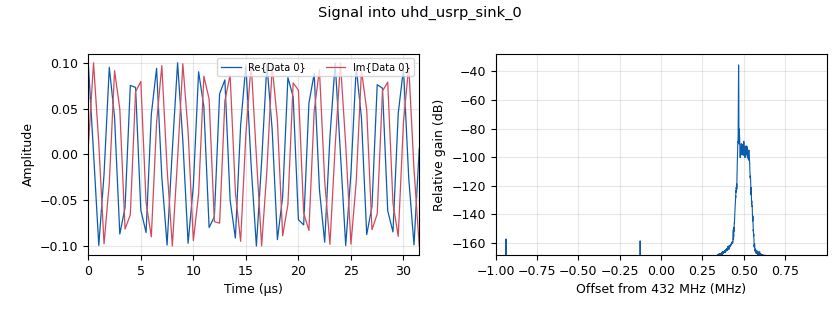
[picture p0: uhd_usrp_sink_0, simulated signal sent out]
<?xml version='1.0' encoding='utf-8'?>
<?grc format='1' created='3.7.12'?>
<flow_graph>
<block>
<key>options</key>
<param><key>id</key><value>top_block</value></param>
<param><key>category</key><value>Custom</value></param>
<param><key>generate_options</key><value>qt_gui</value></param>
</block>
<block>
<key>variable</key>
<param><key>id</key><value>center_freq</value></param>
<param><key>value</key><value>432e6</value></param>
</block>
<block>
<key>variable</key>
<param><key>id</key><value>channel_width</value></param>
<param><key>value</key><value>100e3</value></param>
</block>
<block>
<key>variable_qtgui_entry</key>
<param><key>id</key><value>freq</value></param>
<param><key>value</key><value>432.5e6</value></param>
<param><key>type</key><value>real</value></param>
</block>
<block>
<key>variable_qtgui_entry</key>
<param><key>id</key><value>noise</value></param>
<param><key>value</key><value>0.01</value></param>
<param><key>_enabled</key><value>0</value></param>
<param><key>type</key><value>real</value></param>
</block>
<block>
<key>variable</key>
<param><key>id</key><value>samp_rate</value></param>
<param><key>value</key><value>2e6</value></param>
</block>
<block>
<key>variable</key>
<param><key>id</key><value>samples_per_symbol</value></param>
<param><key>value</key><value>int(samp_rate/symbol_rate)</value></param>
</block>
<block>
<key>variable_qtgui_entry</key>
<param><key>id</key><value>sensitivity</value></param>
<param><key>value</key><value>0.1</value></param>
<param><key>type</key><value>real</value></param>
</block>
<block>
<key>variable</key>
<param><key>id</key><value>symbol_rate</value></param>
<param><key>value</key><value>1/100e-6</value></param>
</block>
<block>
<key>variable</key>
<param><key>id</key><value>taps</value></param>
<param><key>value</key><value>firdes.low_pass(1, samp_rate, channel_width/2, channel_width/10)</value></param>
</block>
<block>
<key>analog_sig_source_x</key>
<param><key>id</key><value>analog_sig_source_x_0</value></param>
<param><key>amp</key><value>0.1</value></param>
<param><key>freq</key><value>freq-center_freq</value></param>
<param><key>offset</key><value>0</value></param>
<param><key>type</key><value>complex</value></param>
<param><key>samp_rate</key><value>samp_rate</value></param>
<param><key>waveform</key><value>analog.GR_COS_WAVE</value></param>
</block>
<block>
<key>blocks_message_debug</key>
<param><key>id</key><value>blocks_message_debug_1_0</value></param>
<param><key>_enabled</key><value>0</value></param>
</block>
<block>
<key>blocks_multiply_xx</key>
<param><key>id</key><value>blocks_multiply_xx_0</value></param>
<param><key>type</key><value>complex</value></param>
</block>
<block>
<key>blocks_repack_bits_bb</key>
<param><key>id</key><value>blocks_repack_bits_bb_0</value></param>
<param><key>k</key><value>1</value></param>
<param><key>l</key><value>8</value></param>
<param><key>_enabled</key><value>0</value></param>
<param><key>endianness</key><value>gr.GR_MSB_FIRST</value></param>
<param><key>len_tag_key</key><value>packet_len</value></param>
</block>
<block>
<key>blocks_tagged_stream_to_pdu</key>
<param><key>id</key><value>blocks_tagged_stream_to_pdu_0</value></param>
<param><key>_enabled</key><value>0</value></param>
<param><key>type</key><value>byte</value></param>
<param><key>tag</key><value>packet_len</value></param>
</block>
<block>
<key>blocks_throttle</key>
<param><key>id</key><value>blocks_throttle_0</value></param>
<param><key>_enabled</key><value>0</value></param>
<param><key>samples_per_second</key><value>samp_rate</value></param>
<param><key>type</key><value>complex</value></param>
</block>
<block>
<key>blocks_uchar_to_float</key>
<param><key>id</key><value>blocks_uchar_to_float_0</value></param>
<param><key>_enabled</key><value>0</value></param>
</block>
<block>
<key>blocks_vector_source_x</key>
<param><key>id</key><value>blocks_vector_source_x_0</value></param>
<param><key>type</key><value>byte</value></param>
<param><key>repeat</key><value>True</value></param>
<param><key>vector</key><value>(0,0,85,85,0,5,0,5,89,79,32,89,79,0,0,0,0,0,0,0,0,0,0,0,0,0,0)</value></param>
</block>
<block>
<key>channels_channel_model</key>
<param><key>id</key><value>channels_channel_model_0</value></param>
<param><key>_enabled</key><value>0</value></param>
<param><key>epsilon</key><value>1.0</value></param>
<param><key>freq_offset</key><value>0.0</value></param>
<param><key>noise_voltage</key><value>noise</value></param>
<param><key>seed</key><value>0</value></param>
<param><key>taps</key><value>1.0 + 1.0j</value></param>
</block>
<block>
<key>digital_correlate_access_code_xx_ts</key>
<param><key>id</key><value>digital_correlate_access_code_xx_ts_0</value></param>
<param><key>access_code</key><value>0101010101010101</value></param>
<param><key>_enabled</key><value>0</value></param>
<param><key>type</key><value>byte</value></param>
<param><key>tagname</key><value>packet_len</value></param>
<param><key>threshold</key><value>0</value></param>
</block>
<block>
<key>digital_gfsk_demod</key>
<param><key>id</key><value>digital_gfsk_demod_0</value></param>
<param><key>_enabled</key><value>0</value></param>
<param><key>freq_error</key><value>0.0</value></param>
<param><key>gain_mu</key><value>0.175</value></param>
<param><key>mu</key><value>0.5</value></param>
<param><key>omega_relative_limit</key><value>0.005</value></param>
<param><key>samples_per_symbol</key><value>samples_per_symbol</value></param>
<param><key>sensitivity</key><value>sensitivity</value></param>
<param><key>verbose</key><value>True</value></param>
</block>
<block>
<key>digital_gfsk_mod</key>
<param><key>id</key><value>digital_gfsk_mod_0</value></param>
<param><key>bt</key><value>0.35</value></param>
<param><key>samples_per_symbol</key><value>samples_per_symbol</value></param>
<param><key>sensitivity</key><value>sensitivity</value></param>
</block>
<block>
<key>freq_xlating_fir_filter_xxx</key>
<param><key>id</key><value>freq_xlating_fir_filter_xxx_0</value></param>
<param><key>center_freq</key><value>freq-center_freq</value></param>
<param><key>decim</key><value>1</value></param>
<param><key>_enabled</key><value>0</value></param>
<param><key>samp_rate</key><value>samp_rate</value></param>
<param><key>taps</key><value>taps</value></param>
<param><key>type</key><value>ccc</value></param>
</block>
<block>
<key>qtgui_sink_x</key>
<param><key>id</key><value>qtgui_sink_x_0</value></param>
<param><key>bw</key><value>samp_rate</value></param>
<param><key>fc</key><value>center_freq</value></param>
<param><key>freqchangevar</key><value>None</value></param>
<param><key>_enabled</key><value>0</value></param>
<param><key>fftsize</key><value>1024</value></param>
<param><key>showports</key><value>True</value></param>
<param><key>showrf</key><value>True</value></param>
<param><key>type</key><value>complex</value></param>
<param><key>wintype</key><value>firdes.WIN_BLACKMAN_hARRIS</value></param>
</block>
<block>
<key>qtgui_sink_x</key>
<param><key>id</key><value>qtgui_sink_x_0_0</value></param>
<param><key>bw</key><value>samp_rate</value></param>
<param><key>fc</key><value>freq</value></param>
<param><key>freqchangevar</key><value>None</value></param>
<param><key>_enabled</key><value>0</value></param>
<param><key>fftsize</key><value>1024</value></param>
<param><key>showports</key><value>True</value></param>
<param><key>showrf</key><value>True</value></param>
<param><key>type</key><value>complex</value></param>
<param><key>wintype</key><value>firdes.WIN_BLACKMAN_hARRIS</value></param>
</block>
<block>
<key>qtgui_time_sink_x</key>
<param><key>id</key><value>qtgui_time_sink_x_0</value></param>
<param><key>_enabled</key><value>0</value></param>
<param><key>color1</key><value>"blue"</value></param>
<param><key>label1</key><value></value></param>
<param><key>marker1</key><value>0</value></param>
<param><key>size</key><value>1024*4</value></param>
<param><key>srate</key><value>symbol_rate</value></param>
<param><key>type</key><value>float</value></param>
<param><key>ymax</key><value>1.1</value></param>
<param><key>ymin</key><value>-0.1</value></param>
</block>
<block>
<key>uhd_usrp_sink</key>
<param><key>id</key><value>uhd_usrp_sink_0</value></param>
<param><key>ant0</key><value>TX/RX</value></param>
<param><key>center_freq0</key><value>center_freq</value></param>
<param><key>norm_gain0</key><value>False</value></param>
<param><key>gain0</key><value>40</value></param>
<param><key>clock_rate</key><value>0.0</value></param>
<param><key>dev_args</key><value>""</value></param>
<param><key>type</key><value>fc32</value></param>
<param><key>samp_rate</key><value>samp_rate</value></param>
<param><key>hide_cmd_port</key><value>False</value></param>
<param><key>hide_lo_controls</key><value>True</value></param>
<param><key>sync</key><value></value></param>
<param><key>len_tag_name</key><value></value></param>
</block>
<block>
<key>virtual_sink</key>
<param><key>id</key><value>virtual_sink_0</value></param>
<param><key>_enabled</key><value>0</value></param>
<param><key>stream_id</key><value>signal_sent</value></param>
</block>
<block>
<key>virtual_source</key>
<param><key>id</key><value>virtual_source_0</value></param>
<param><key>_enabled</key><value>0</value></param>
<param><key>stream_id</key><value>signal_sent</value></param>
</block>
<connection><source_block_id>analog_sig_source_x_0</source_block_id><sink_block_id>blocks_multiply_xx_0</sink_block_id><source_key>0</source_key><sink_key>1</sink_key></connection>
<connection><source_block_id>blocks_multiply_xx_0</source_block_id><sink_block_id>channels_channel_model_0</sink_block_id><source_key>0</source_key><sink_key>0</sink_key></connection>
<connection><source_block_id>blocks_multiply_xx_0</source_block_id><sink_block_id>uhd_usrp_sink_0</sink_block_id><source_key>0</source_key><sink_key>0</sink_key></connection>
<connection><source_block_id>blocks_repack_bits_bb_0</source_block_id><sink_block_id>blocks_tagged_stream_to_pdu_0</sink_block_id><source_key>0</source_key><sink_key>0</sink_key></connection>
<connection><source_block_id>blocks_tagged_stream_to_pdu_0</source_block_id><sink_block_id>blocks_message_debug_1_0</sink_block_id><source_key>pdus</source_key><sink_key>print_pdu</sink_key></connection>
<connection><source_block_id>blocks_throttle_0</source_block_id><sink_block_id>virtual_sink_0</sink_block_id><source_key>0</source_key><sink_key>0</sink_key></connection>
<connection><source_block_id>blocks_uchar_to_float_0</source_block_id><sink_block_id>qtgui_time_sink_x_0</sink_block_id><source_key>0</source_key><sink_key>0</sink_key></connection>
<connection><source_block_id>blocks_vector_source_x_0</source_block_id><sink_block_id>digital_gfsk_mod_0</sink_block_id><source_key>0</source_key><sink_key>0</sink_key></connection>
<connection><source_block_id>channels_channel_model_0</source_block_id><sink_block_id>blocks_throttle_0</sink_block_id><source_key>0</source_key><sink_key>0</sink_key></connection>
<connection><source_block_id>digital_correlate_access_code_xx_ts_0</source_block_id><sink_block_id>blocks_repack_bits_bb_0</sink_block_id><source_key>0</source_key><sink_key>0</sink_key></connection>
<connection><source_block_id>digital_gfsk_demod_0</source_block_id><sink_block_id>blocks_uchar_to_float_0</sink_block_id><source_key>0</source_key><sink_key>0</sink_key></connection>
<connection><source_block_id>digital_gfsk_demod_0</source_block_id><sink_block_id>digital_correlate_access_code_xx_ts_0</sink_block_id><source_key>0</source_key><sink_key>0</sink_key></connection>
<connection><source_block_id>digital_gfsk_mod_0</source_block_id><sink_block_id>blocks_multiply_xx_0</sink_block_id><source_key>0</source_key><sink_key>0</sink_key></connection>
<connection><source_block_id>freq_xlating_fir_filter_xxx_0</source_block_id><sink_block_id>digital_gfsk_demod_0</sink_block_id><source_key>0</source_key><sink_key>0</sink_key></connection>
<connection><source_block_id>freq_xlating_fir_filter_xxx_0</source_block_id><sink_block_id>qtgui_sink_x_0_0</sink_block_id><source_key>0</source_key><sink_key>0</sink_key></connection>
<connection><source_block_id>virtual_source_0</source_block_id><sink_block_id>freq_xlating_fir_filter_xxx_0</sink_block_id><source_key>0</source_key><sink_key>0</sink_key></connection>
<connection><source_block_id>virtual_source_0</source_block_id><sink_block_id>qtgui_sink_x_0</sink_block_id><source_key>0</source_key><sink_key>0</sink_key></connection>
</flow_graph>
